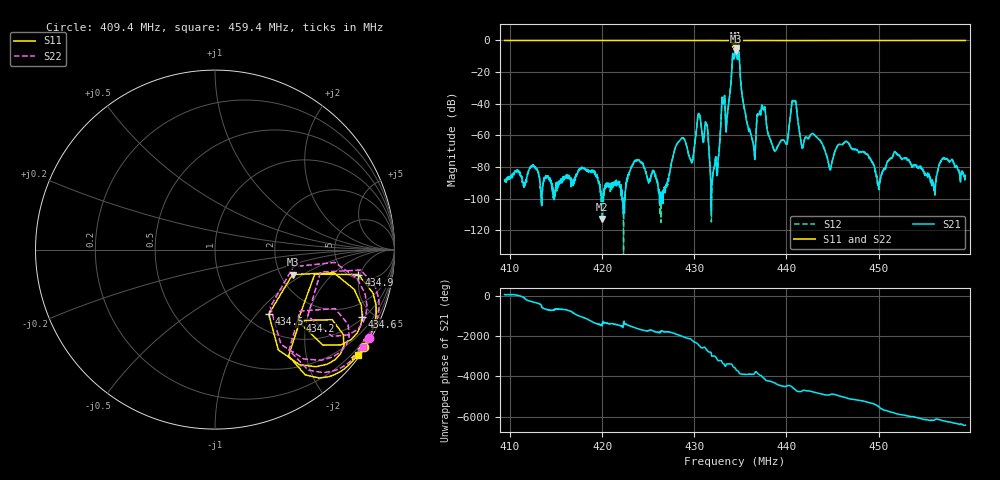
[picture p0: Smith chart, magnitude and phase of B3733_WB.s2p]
! Matrix data file written by TouchstoneData, EPCOS AG
! FILENAME: "newformat_B3733_WB.s2p"
! COMMENT: "PINNING IN=1; OUT=4; UNMACHED 14 Mar 2006 S1"
! INFO: nport=2, nfreq=1601
! DATE: "Wed Sep 19 14:23:29 2012"
! USER: "Wilfried Schott"
! port | pin | signal
!  1  |  1  |  IN
!  2  |  4  |  OUT
# MHZ S MA R 50
! freq  magS11 angS11  magS21 angS21  magS12 angS12  magS22 angS22
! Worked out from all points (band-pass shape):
!   1601 points, 409.4 MHz to 459.4 MHz, reference 50 ohm
!   highest |S21| = -4.90 dB at 434.5 MHz (marker M1); lowest = -112.9 dB at 420 MHz (marker M2)
!   |S21| within 3 dB of the highest: 434.427 MHz to 434.5691 MHz (142 kHz wide, 0.0327 % of centre); 434.8159 MHz to 434.8593 MHz (43.43 kHz wide, 0.00999 % of centre)
!   lowest |S11| = -6.9 dB at 434.5 MHz (marker M3), VSWR 2.66, Z = 116 - j40.7 ohm
!   |S11| at or under -10 dB: nowhere
!   |S22| runs from -7.1 to -0.1 dB; largest |S21 - S12| = 0.0017
!   S11 on the Smith chart (normalised r, x): 409.4 MHz: 0.05, -3.37; 434.2 MHz: 1.43, -1.82; 434.5 MHz: 1.26, -1.16; 434.6 MHz: 1.08, -4.35; 434.9 MHz: 5.74, -4.66; 459.4 MHz: 0.05, -3.03
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409.42  0.9914 -33.0  3.856e-05 59.1  4.092e-05 47.4  0.9896 -30.0
417.7638  0.991 -33.8  9.078e-05 35.4  9.121e-05 37.1  0.9891 -30.7
420.0138  0.991 -34.0  2.275e-06 -51.6  3.298e-06 0.7  0.9893 -30.9
426.1075  0.9908 -34.7  1.747e-05 -12.2  2.041e-05 -22.3  0.9889 -31.6
429.7013  0.9893 -35.4  0.0001417 -14.5  0.0001399 -15.4  0.9871 -32.2
430.5138  0.9838 -35.5  0.004858 48.7  0.004851 48.9  0.982 -32.3
432.3263  0.9895 -36.7  0.0002088 -148.6  0.0002098 -149.0  0.9875 -33.5
434.17  0.6171 -39.9  0.3875 121.9  0.3874 122.1  0.5843 -35.9
434.42  0.7951 -53.7  0.3841 20.7  0.3841 20.9  0.7855 -50.9
434.4825  0.468 -50.3  0.5529 -19.7  0.5531 -19.6  0.4439 -46.0
434.5138  0.454 -17.8  0.569 -48.2  0.5688 -48.0  0.4469 -12.3
434.6388  0.902 -24.5  0.2795 -107.2  0.2792 -106.9  0.902 -20.2
434.8888  0.8112 -9.9  0.2714 112.4  0.2711 112.6  0.8205 -8.0
436.42  0.9903 -33.0  0.0004898 66.0  0.0004916 65.8  0.9885 -29.7
437.4825  0.9862 -33.8  0.006452 -107.7  0.006452 -107.4  0.9846 -30.5
439.92  0.9832 -34.5  0.0005552 178.8  0.000555 178.6  0.981 -31.2
440.795  0.9787 -34.4  0.01157 74.7  0.01157 75.0  0.977 -31.2
441.67  0.986 -34.4  0.0004281 -56.2  0.0004276 -55.3  0.9844 -31.2
442.7638  0.987 -34.6  0.001131 -76.2  0.001138 -76.0  0.9845 -31.4
444.7325  0.9897 -35.0  8.307e-05 129.7  8.15e-05 130.6  0.9875 -31.7
451.1075  0.9896 -35.8  0.000165 16.8  0.0001623 18.5  0.9874 -32.4
459.42  0.9899 -36.6  5.406e-05 54.5  5.291e-05 46.0  0.9876 -33.2
